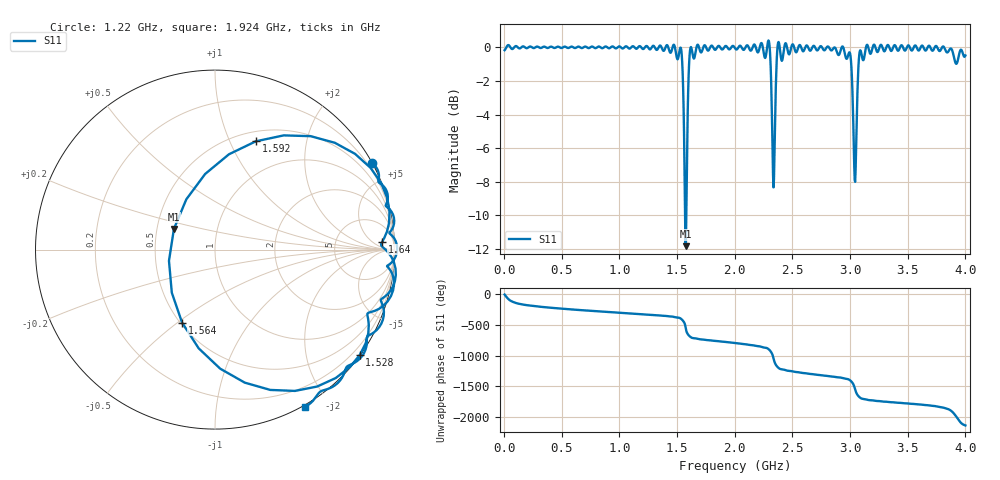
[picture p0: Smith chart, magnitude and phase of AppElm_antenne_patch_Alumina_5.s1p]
! TOUCHSTONE file generated by CST MICROWAVE STUDIO
! Date and time: Thu Jun  9 14:52:37 2022
! Project name: AppElm_antenne_patch_Alumina.cst
! Parameters = {L=30.5; W=41.8; e=0.035; h=1.6; lambda=0.190476; ls=90; w0=1.12; w1=0.373; ws=90; y0=13.3; y1=10}
! Header version: 2018
! Port assignment regex: !\s*Touchstone port\s*([0-9]+)\s*=\s*(CST MWS port|CST DS port)\s*([0-9]+|Zmin|Zmax)\s*\(\"(.*)\"\)(\s*mode\s*([0-9]+))?.*
! Touchstone port assignment:
! Touchstone port 1 = CST MWS port 1 ("")
# GHz S MA R 50
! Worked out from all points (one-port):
!   1000 points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, 4 MHz to 4 GHz, reference 50 ohm
!   lowest |S11| = -11.8 dB at 1.576 GHz (marker M1), VSWR 1.69, Z = 30.7 + j7.55 ohm
!   |S11| at or under -10 dB: 1.569 GHz to 1.58 GHz (10.52 MHz wide, 0.668 % of centre)
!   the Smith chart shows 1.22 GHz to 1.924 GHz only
!   S11 on the Smith chart (normalised r, x): 1.22 GHz: 0.01, +3.90; 1.528 GHz: 0.01, -3.07; 1.564 GHz: 0.51, -0.52; 1.592 GHz: 0.61, +1.26; 1.64 GHz: 20, +13; 1.924 GHz: -0.02, -1.73
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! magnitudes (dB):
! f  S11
! 4 MHz  -0.2
! 504 MHz  0.0
! 1.004 GHz  0.0
! 1.22 GHz  0.0
! 1.504 GHz  -0.7
! 1.528 GHz  0.0
! 1.544 GHz  -0.9
! 1.564 GHz  -7.0
! 1.576 GHz  -11.8
! 1.592 GHz  -3.8
! 1.612 GHz  -0.2
! 1.64 GHz  -0.6
! 1.924 GHz  0.1
! 2.004 GHz  -0.1
! 2.288 GHz  0.3
! 2.304 GHz  -0.1
! 2.324 GHz  -4.7
! 2.336 GHz  -8.3
! 2.38 GHz  0.3
! 2.504 GHz  0.2
! 2.936 GHz  0.0
! 3.004 GHz  -0.5
! 3.032 GHz  -5.8
! 3.044 GHz  -8.0
! 3.076 GHz  -0.7
! 3.092 GHz  -0.2
! 3.504 GHz  0.1
! 4 GHz  -0.5
